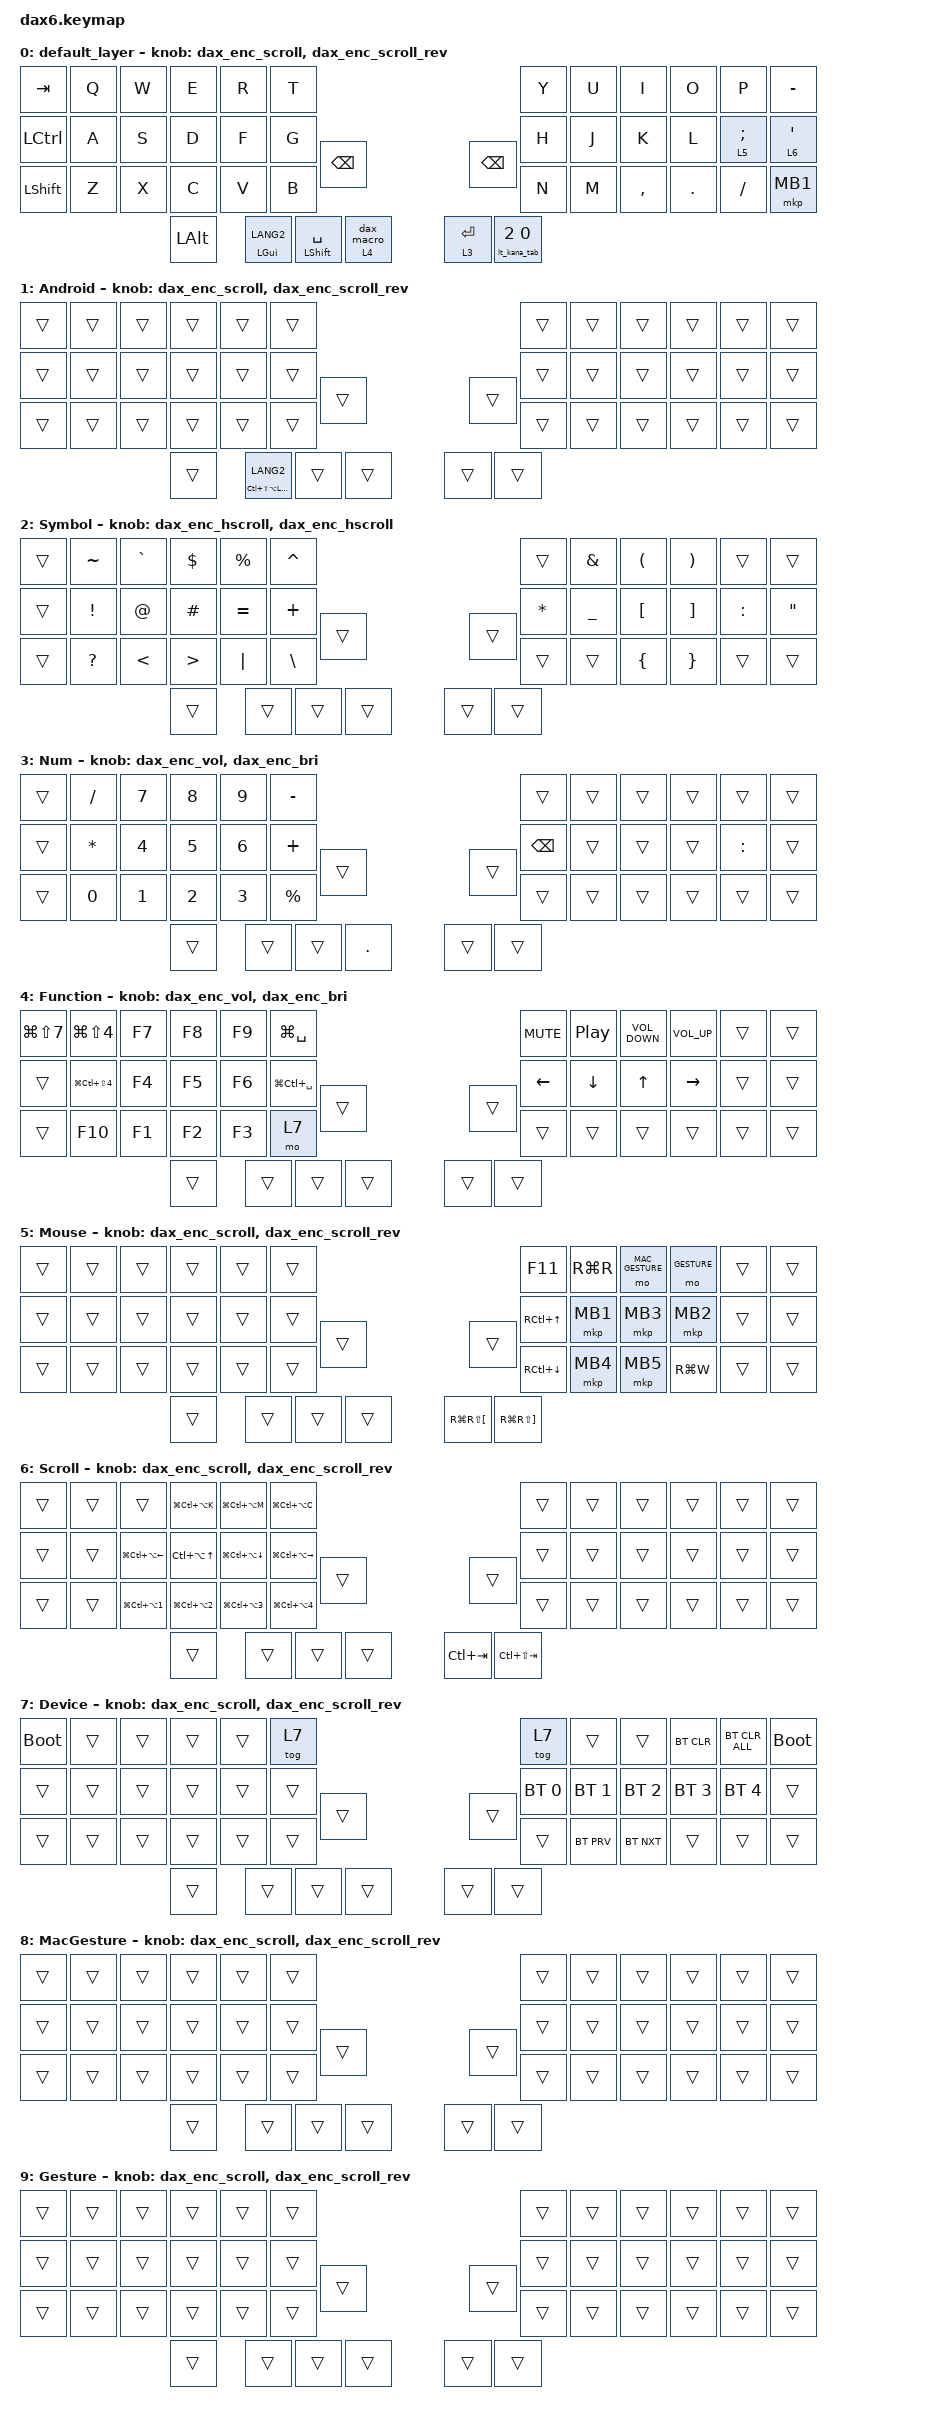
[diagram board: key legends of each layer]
#define ZMK_POINTING_DEFAULT_SCRL_VAL 120

#include <behaviors.dtsi>
#include <behaviors/dax_macro.dtsi>
#include <dt-bindings/zmk/bt.h>
#include <dt-bindings/zmk/input_transform.h>
#include <dt-bindings/zmk/keys.h>
#include <dt-bindings/zmk/pointing.h>
#include <input/processors.dtsi>
#include <dt-bindings/dax/gesture.h>

// Ctrl+Alt+Shift+Meta as a single modifier. The keycode itself is a modifier
// usage, so it lands in the HID modifier byte and a bare tap sends no character.
#define HYPER LC(LS(LA(LGUI)))

#define ANDROID 1
#define MOUSE 5
#define SCROLL 6
#define NUM 3
#define MAC_GESTURE 8
#define GESTURE 9

#include "gestures.dtsi"
#include "kana_tab.dtsi"

// Encoder scroll reaches the host through &msc, which owns its own input-listener.
// The listener lives in behaviors.dtsi, which the shield overlay is parsed before,
// so the Android direction flip has to be declared here rather than in the overlay.
&msc_input_listener {
    android_encoder_override {
        layers = <ANDROID>;
        input-processors
            = <&zip_scroll_transform (INPUT_TRANSFORM_Y_INVERT)>
            , <&zip_scroll_scaler 3 5>
            ;
    };
};

&mt {
    quick-tap-ms = <0>;
    tapping-term-ms = <160>;
    flavor = "balanced";
};

&lt {
    flavor = "balanced";
    tapping-term-ms = <160>;
    quick-tap-ms = <0>;
};

// The dax_enc_* behaviors below (zmk-dax-modules' dax,behavior-encoder) are the
// encoders' defaults. A settings app changes the binding of each sensor, layer
// and direction at runtime, and a layer is editable there only when its
// sensor-bindings name one of them. Every variant sets tap-ms to 20, including
// the &kp ones: &msc ticks every 16 ms, and an app may keep a layer's tap-ms
// when it rebinds, so the binding default of 5 would leave a later &msc silent.
/ {
    // Compile-time defaults for the runtime combos (`dax_combo`). A slot edited or
    // deleted from a settings app keeps that stored value, and the layer filter
    // still looks at the highest active layer only, hence `<0 1>`.
    runtime_combo_defaults {
        compatible = "dax,runtime-combo-defaults";

        to_device {
            slot = <0>;
            bindings = <&mo 7>;
            key-positions = <0 29>;
            layers = <0 1>;
        };

        kl_scroll {
            slot = <1>;
            bindings = <&mo 6>;
            key-positions = <20 21>;
            layers = <0 1>;
        };

        to_device_left {
            slot = <2>;
            bindings = <&tog 7>;
            key-positions = <0 12 24>;
            layers = <0 1>;
        };

        to_device_right {
            slot = <3>;
            bindings = <&tog 7>;
            key-positions = <11 23 37>;
            layers = <0 1>;
        };

        // TAB for cmd+tab with the left thumb's cmd. Off for 150 ms after a
        // typed key, so a quick "er" in a word stays letters.
        er_tab {
            slot = <4>;
            bindings = <&kp TAB>;
            key-positions = <3 4>;
            layers = <0 1>;
            require-prior-idle-ms = <150>;
        };
    };

    // Compile-time defaults for the macros (`dax_macro`), each in a fixed slot. A slot
    // edited or deleted from a settings app keeps that stored value.
    // `esc_lang2_with_layer` passes the slot number of esc_lang2 as its tap parameter.
    runtime_macro_defaults {
        compatible = "dax,runtime-macro-defaults";

        esc_lang2 {
            slot = <0>;
            bindings = <&macro_tap>, <&kp ESCAPE &kp LANG2>;
            wait-ms = <15>;
        };
    };

    behaviors {
        esc_lang2_with_layer: esc_lang2_with_layer {
            compatible = "zmk,behavior-hold-tap";
            display-name = "Layer-Macro";
            bindings = <&mo>, <&dax_macro>;
            #binding-cells = <2>;
            tapping-term-ms = <160>;
            flavor = "balanced";
        };

        dax_enc_scroll: dax_enc_scroll {
            compatible = "dax,behavior-encoder";
            #sensor-binding-cells = <0>;
            tap-ms = <20>;
            cw-binding = <&msc SCRL_UP>;
            ccw-binding = <&msc SCRL_DOWN>;
        };

        dax_enc_scroll_rev: dax_enc_scroll_rev {
            compatible = "dax,behavior-encoder";
            #sensor-binding-cells = <0>;
            tap-ms = <20>;
            cw-binding = <&msc SCRL_DOWN>;
            ccw-binding = <&msc SCRL_UP>;
        };

        dax_enc_hscroll: dax_enc_hscroll {
            compatible = "dax,behavior-encoder";
            #sensor-binding-cells = <0>;
            tap-ms = <20>;
            cw-binding = <&msc SCRL_RIGHT>;
            ccw-binding = <&msc SCRL_LEFT>;
        };

        dax_enc_vol: dax_enc_vol {
            compatible = "dax,behavior-encoder";
            #sensor-binding-cells = <0>;
            tap-ms = <20>;
            cw-binding = <&kp C_VOL_DN>;
            ccw-binding = <&kp C_VOL_UP>;
        };

        dax_enc_bri: dax_enc_bri {
            compatible = "dax,behavior-encoder";
            #sensor-binding-cells = <0>;
            tap-ms = <20>;
            cw-binding = <&kp C_BRI_INC>;
            ccw-binding = <&kp C_BRI_DEC>;
        };
    };

    keymap {
        compatible = "zmk,keymap";

        default_layer {
            bindings = <
&kp TAB          &kp Q   &kp W   &kp E          &kp R                &kp T                                                                              &kp Y         &kp U   &kp I       &kp O     &kp P             &kp MINUS
&kp LCTRL        &kp A   &kp S   &kp D          &kp F                &kp G                                                                              &kp H         &kp J   &kp K       &kp L     &lt 5 SEMICOLON   &lt 6 SINGLE_QUOTE
&kp LEFT_SHIFT   &kp Z   &kp X   &kp C          &kp V                &kp B                  &kp BACKSPACE                               &kp BACKSPACE   &kp N         &kp M   &kp COMMA   &kp DOT   &kp SLASH         &mkp MB1
                                 &kp LEFT_ALT   &mt LEFT_GUI LANG2   &mt LEFT_SHIFT SPACE   &esc_lang2_with_layer 4 0                   &lt 3 ENTER     &lt_kana_tab 2 0
            >;

            sensor-bindings = <&dax_enc_scroll>, <&dax_enc_scroll_rev>;
        };

        Android {
            bindings = <
&trans   &trans   &trans   &trans   &trans            &trans                                     &trans   &trans   &trans   &trans   &trans   &trans
&trans   &trans   &trans   &trans   &trans            &trans                                     &trans   &trans   &trans   &trans   &trans   &trans
&trans   &trans   &trans   &trans   &trans            &trans   &trans                   &trans   &trans   &trans   &trans   &trans   &trans   &trans
                           &trans   &mt HYPER LANG2   &trans   &trans                   &trans   &trans
            >;

            sensor-bindings = <&dax_enc_scroll>, <&dax_enc_scroll_rev>;
        };

        Symbol {
            bindings = <
&trans   &kp TILDE         &kp GRAVE       &kp DOLLAR         &kp PERCENT   &kp CARET                                         &trans      &kp AMPERSAND    &kp LEFT_PARENTHESIS   &kp RIGHT_PARENTHESIS   &trans      &trans
&trans   &kp EXCLAMATION   &kp AT_SIGN     &kp HASH           &kp EQUAL     &kp PLUS                                          &kp ASTRK   &kp UNDERSCORE   &kp LEFT_BRACKET       &kp RIGHT_BRACKET       &kp COLON   &kp DOUBLE_QUOTES
&trans   &kp QUESTION      &kp LESS_THAN   &kp GREATER_THAN   &kp PIPE      &kp BACKSLASH   &trans                   &trans   &trans      &trans           &kp LEFT_BRACE         &kp RIGHT_BRACE         &trans      &trans
                                           &trans             &trans        &trans          &trans                   &trans   &trans
            >;

            sensor-bindings = <&dax_enc_hscroll>, <&dax_enc_hscroll>;
        };

        Num {
            bindings = <
&trans   &kp SLASH      &kp N7         &kp N8         &kp N9         &kp MINUS                                           &trans          &trans   &trans   &trans   &trans      &trans
&trans   &kp ASTERISK   &kp NUMBER_4   &kp N5         &kp NUMBER_6   &kp PLUS                                            &kp BACKSPACE   &trans   &trans   &trans   &kp COLON   &trans
&trans   &kp N0         &kp NUMBER_1   &kp NUMBER_2   &kp NUMBER_3   &kp PERCENT   &trans                       &trans   &trans          &trans   &trans   &trans   &trans      &trans
                                       &trans         &trans         &trans        &kp PERIOD                   &trans   &trans
            >;

            sensor-bindings = <&dax_enc_vol>, <&dax_enc_bri>;
        };

        Function {
            bindings = <
&kp LG(LS(N7))   &kp LG(LS(NUMBER_4))       &kp F7   &kp F8   &kp F9   &kp LG(SPACE)                                         &kp C_MUTE   &kp C_PP   &kp C_VOLUME_DOWN   &kp C_VOLUME_UP   &trans   &trans
&trans           &kp LG(LC(LS(NUMBER_4)))   &kp F4   &kp F5   &kp F6   &kp LG(LC(SPACE))                                     &kp LEFT     &kp DOWN   &kp UP_ARROW        &kp RIGHT         &trans   &trans
&trans           &kp F10                    &kp F1   &kp F2   &kp F3   &mo 7               &trans                   &trans   &trans       &trans     &trans              &trans            &trans   &trans
                                                     &trans   &trans   &trans              &trans                   &trans   &trans
            >;

            sensor-bindings = <&dax_enc_vol>, <&dax_enc_bri>;
        };

        Mouse {
            bindings = <
&trans   &trans   &trans   &trans   &trans   &trans                                                       &kp F11                     &kp RG(R)   &mo MAC_GESTURE   &mo GESTURE      &trans   &trans
&trans   &trans   &trans   &trans   &trans   &trans                                                       &kp RC(UP_ARROW)            &mkp MB1    &mkp MB3          &mkp MB2         &trans   &trans
&trans   &trans   &trans   &trans   &trans   &trans   &trans                   &trans                     &kp RC(DOWN)                &mkp MB4    &mkp MB5          &kp RG(W)        &trans   &trans
                           &trans   &trans   &trans   &trans                   &kp RG(RS(LEFT_BRACKET))   &kp RG(RS(RIGHT_BRACKET))
            >;

            sensor-bindings = <&dax_enc_scroll>, <&dax_enc_scroll_rev>;
        };

        Scroll {
            bindings = <
&trans   &trans   &trans                     &kp LG(LC(LA(K)))          &kp LG(LC(LA(M)))          &kp LG(LC(LA(C)))                                                 &trans            &trans   &trans   &trans   &trans   &trans
&trans   &trans   &kp LG(LC(LA(LEFT)))       &kp LC(LA(UP_ARROW))       &kp LG(LC(LA(DOWN)))       &kp LG(LC(LA(RIGHT)))                                             &trans            &trans   &trans   &trans   &trans   &trans
&trans   &trans   &kp LG(LC(LA(NUMBER_1)))   &kp LG(LC(LA(NUMBER_2)))   &kp LG(LC(LA(NUMBER_3)))   &kp LG(LC(LA(NUMBER_4)))   &trans                   &trans        &trans            &trans   &trans   &trans   &trans   &trans
                                             &trans                     &trans                     &trans                     &trans                   &kp LC(TAB)   &kp LC(LS(TAB))
            >;

            sensor-bindings = <&dax_enc_scroll>, <&dax_enc_scroll_rev>;
        };

        Device {
            bindings = <
&bootloader   &trans   &trans   &trans   &trans   &tog 7                                     &tog 7         &trans         &trans         &bt BT_CLR     &bt BT_CLR_ALL   &bootloader
&trans        &trans   &trans   &trans   &trans   &trans                                     &bt BT_SEL 0   &bt BT_SEL 1   &bt BT_SEL 2   &bt BT_SEL 3   &bt BT_SEL 4     &trans
&trans        &trans   &trans   &trans   &trans   &trans   &trans                   &trans   &trans         &bt BT_PRV     &bt BT_NXT     &trans         &trans           &trans
                                &trans   &trans   &trans   &trans                   &trans   &trans
            >;

            sensor-bindings = <&dax_enc_scroll>, <&dax_enc_scroll_rev>;
        };

        MacGesture {
            bindings = <
&trans   &trans   &trans   &trans   &trans   &trans                                     &trans   &trans   &trans   &trans   &trans   &trans
&trans   &trans   &trans   &trans   &trans   &trans                                     &trans   &trans   &trans   &trans   &trans   &trans
&trans   &trans   &trans   &trans   &trans   &trans   &trans                   &trans   &trans   &trans   &trans   &trans   &trans   &trans
                           &trans   &trans   &trans   &trans                   &trans   &trans
            >;

            sensor-bindings = <&dax_enc_scroll>, <&dax_enc_scroll_rev>;
        };

        // Held from the Mouse layer. It changes no key: it exists so that the gesture processor
        // has a layer to tell "gestures on" by (config/gestures.dtsi).
        Gesture {
            bindings = <
&trans   &trans   &trans   &trans   &trans   &trans                                     &trans   &trans   &trans   &trans   &trans   &trans
&trans   &trans   &trans   &trans   &trans   &trans                                     &trans   &trans   &trans   &trans   &trans   &trans
&trans   &trans   &trans   &trans   &trans   &trans   &trans                   &trans   &trans   &trans   &trans   &trans   &trans   &trans
                           &trans   &trans   &trans   &trans                   &trans   &trans
            >;

            sensor-bindings = <&dax_enc_scroll>, <&dax_enc_scroll_rev>;
        };
    };
};
